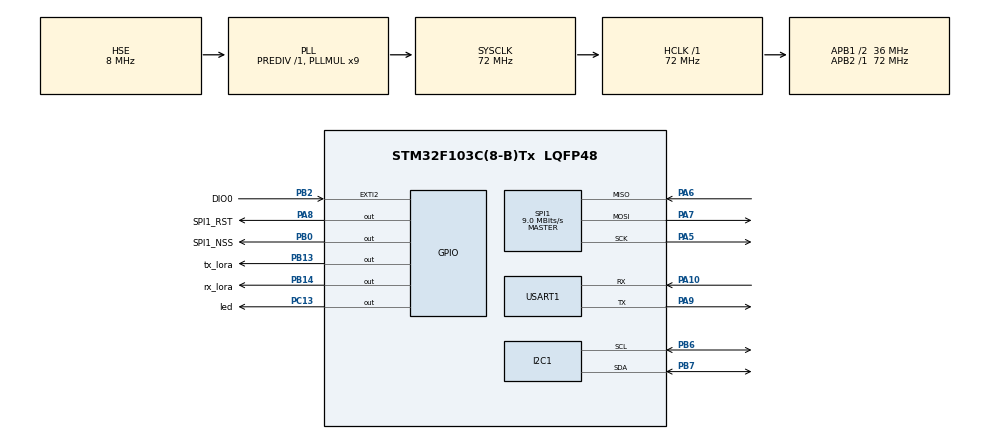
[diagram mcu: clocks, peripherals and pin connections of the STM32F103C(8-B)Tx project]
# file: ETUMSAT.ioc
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Dma.Request0=USART1_RX
Dma.USART1_RX.0.Direction=DMA_PERIPH_TO_MEMORY
Dma.USART1_RX.0.Instance=DMA1_Channel5
Dma.USART1_RX.0.MemDataAlignment=DMA_MDATAALIGN_BYTE
Dma.USART1_RX.0.MemInc=DMA_MINC_ENABLE
Dma.USART1_RX.0.Mode=DMA_CIRCULAR
Dma.USART1_RX.0.PeriphDataAlignment=DMA_PDATAALIGN_BYTE
Dma.USART1_RX.0.PeriphInc=DMA_PINC_DISABLE
Dma.USART1_RX.0.Priority=DMA_PRIORITY_HIGH
I2C1.I2C_Mode=I2C_Fast
Mcu.Family=STM32F1
Mcu.Name=STM32F103C(8-B)Tx
Mcu.Package=LQFP48
NVIC.DMA1_Channel5_IRQn=true\:0\:0\:false\:false\:true\:false\:true
NVIC.EXTI2_IRQn=true\:0\:0\:false\:false\:true\:true\:true
NVIC.PriorityGroup=NVIC_PRIORITYGROUP_4
NVIC.USART1_IRQn=true\:0\:0\:false\:false\:true\:true\:true
PA10.Mode=Asynchronous
PA10.Signal=USART1_RX
PA13.Mode=Serial_Wire
PA13.Signal=SYS_JTMS-SWDIO
PA14.Mode=Serial_Wire
PA14.Signal=SYS_JTCK-SWCLK
PA5.Mode=Full_Duplex_Master
PA5.Signal=SPI1_SCK
PA6.Mode=Full_Duplex_Master
PA6.Signal=SPI1_MISO
PA7.Mode=Full_Duplex_Master
PA7.Signal=SPI1_MOSI
PA8.GPIO_Label=SPI1_RST
PA8.Signal=GPIO_Output
PA9.Mode=Asynchronous
PA9.Signal=USART1_TX
PB0.GPIO_Label=SPI1_NSS
PB0.Signal=GPIO_Output
PB13.GPIO_Label=tx_lora
PB13.Signal=GPIO_Output
PB14.GPIO_Label=rx_lora
PB14.Signal=GPIO_Output
PB2.GPIO_Label=DIO0
PB2.Signal=GPXTI2
PB6.Mode=I2C
PB6.Signal=I2C1_SCL
PB7.Mode=I2C
PB7.Signal=I2C1_SDA
PC13-TAMPER-RTC.GPIO_Label=led
PC13-TAMPER-RTC.Signal=GPIO_Output
PD0-OSC_IN.Mode=HSE-External-Oscillator
PD0-OSC_IN.Signal=RCC_OSC_IN
PD1-OSC_OUT.Mode=HSE-External-Oscillator
PD1-OSC_OUT.Signal=RCC_OSC_OUT
ProjectManager.HeapSize=0x200
ProjectManager.StackSize=0x400
ProjectManager.TargetToolchain=MDK-ARM V5.27
RCC.AHBFreq_Value=72000000
RCC.APB1CLKDivider=RCC_HCLK_DIV2
RCC.APB1Freq_Value=36000000
RCC.APB1TimFreq_Value=72000000
RCC.APB2Freq_Value=72000000
RCC.APB2TimFreq_Value=72000000
RCC.HCLKFreq_Value=72000000
RCC.PLLMUL=RCC_PLL_MUL9
RCC.PLLSourceVirtual=RCC_PLLSOURCE_HSE
RCC.SYSCLKFreq_VALUE=72000000
RCC.SYSCLKSource=RCC_SYSCLKSOURCE_PLLCLK
RCC.USBFreq_Value=72000000
SPI1.BaudRatePrescaler=SPI_BAUDRATEPRESCALER_8
SPI1.CalculateBaudRate=9.0 MBits/s
SPI1.Direction=SPI_DIRECTION_2LINES
SPI1.Mode=SPI_MODE_MASTER
SPI1.VirtualType=VM_MASTER
USART1.VirtualMode=VM_ASYNC
board=custom

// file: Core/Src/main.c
/* USER CODE BEGIN Header */
/**
  ******************************************************************************
  * @file           : main.c
  * @brief          : Main program body
  ******************************************************************************
  * @attention
  *
  * <h2><center>&copy; Copyright (c) 2020 STMicroelectronics.
  * All rights reserved.</center></h2>
  *
  * This software component is licensed by ST under BSD 3-Clause license,
  * the "License"; You may not use this file except in compliance with the
  * License. You may obtain a copy of the License at:
  *                        opensource.org/licenses/BSD-3-Clause
  *
  ******************************************************************************
  */
/* USER CODE END Header */
#include "main.h"
#include "dma.h"
#include "i2c.h"
#include "spi.h"
#include "usart.h"
#include "gpio.h"

/* USER CODE BEGIN Includes */
#include "stdio.h"
#include "Lora.h"
#include "DMA_iddle.h"
#include "string.h"
#include "ssd1306.h"
#include "fonts.h"
/* USER CODE END Includes */

/* USER CODE BEGIN PTD */
#define DMA_RX_BUFFER_SIZE          250
uint8_t DMA_RX_Buffer[DMA_RX_BUFFER_SIZE];

#define UART_BUFFER_SIZE            256
uint8_t UART_Buffer[UART_BUFFER_SIZE];
/* USER CODE END PTD */

/* USER CODE BEGIN PM */
#ifdef __GNUC__
  /* With GCC, small printf (option LD Linker->Libraries->Small printf
     set to 'Yes') calls __io_putchar() */
  #define PUTCHAR_PROTOTYPE int __io_putchar(int ch)
#else
  #define PUTCHAR_PROTOTYPE int fputc(int ch, FILE *f)
#endif /* __GNUC__ */
/* USER CODE END PM */

/* USER CODE BEGIN PV */
uint8_t buffer_tx[10];
uint16_t check_value =0;
uint8_t cont=0;

uint8_t TC_flag=0;
uint8_t TC_Ok=0;
uint8_t TC_buffer[10];

uint8_t SF;
uint8_t BW;
uint8_t RX_flag = 1;
char OLED_buffer[10];

/* USER CODE END PV */

void SystemClock_Config(void);

/* USER CODE BEGIN 0 */
SX1278_hw_t lora_hw;
SX1278_t lora;
/* USER CODE END 0 */

int main(void)
{

  /* MCU Configuration--------------------------------------------------------*/

  /* Reset of all peripherals, Initializes the Flash interface and the Systick. */
  HAL_Init();

  /* Configure the system clock */
  SystemClock_Config();

  /* Initialize all configured peripherals */
  MX_GPIO_Init();
  MX_DMA_Init();
  MX_USART1_UART_Init();
  MX_SPI1_Init();
  MX_I2C1_Init();
  /* USER CODE BEGIN 2 */
	lora_hw.nss.port = SPI1_NSS_GPIO_Port;
	lora_hw.nss.pin = SPI1_NSS_Pin;
	lora_hw.reset.port = SPI1_RST_GPIO_Port;
	lora_hw.reset.pin = SPI1_RST_Pin;
	lora_hw.spi = &hspi1;
	lora.hw = &lora_hw;

	//HAL_Delay(100);
	//RESET
	SX1278_reset(&lora);
	//HAL_Delay(200);
	HAL_GPIO_TogglePin(rx_lora_GPIO_Port,rx_lora_Pin);
	HAL_GPIO_TogglePin(tx_lora_GPIO_Port,tx_lora_Pin);
	//printf("hola\n");
	// ch = 48 (439MHz)
	// while( SX1278_BeginLora(&lora, BW_125, 48, SF_8, CR_7, 0x0008, 100, 0, 0x02, 5) == 0)
	SF = SF_11;
	BW = BW_125;
	while( SX1278_BeginLora(&lora, BW_125, 48, SF_11, CR_6, 0x0008, 100, 0, 0x02, 20) == 0)
	{
		//printf("Error Lora\n");
		HAL_GPIO_TogglePin(led_GPIO_Port, led_Pin);
		HAL_Delay(500);
	}
	//printf("Lora Ok\n");
	//HAL_Delay(1000);

	uint8_t status = SSD1306_Init (); // initialize the diaply
//	printf("status = 0x%.2X\n",status);
//	printf("OLED Ok\n");
	//HAL_Delay(100);
	SSD1306_Clear();
	//HAL_Delay(5000);

	__HAL_UART_ENABLE_IT(&huart1, UART_IT_IDLE);   // enable idle line interrupt
	__HAL_DMA_ENABLE_IT (&hdma_usart1_rx, DMA_IT_TC);  // enable DMA Tx cplt interrupt

	__HAL_DMA_DISABLE_IT(&hdma_usart1_rx, DMA_IT_HT); 	// discable half complete interrupt
//	hdma_usart1_rx.Instance->CCR &= ~DMA_SxCR_HTIE;
	HAL_UART_Receive_DMA (&huart1, DMA_RX_Buffer, 250);

	//HAL_Delay(1000);
	SSD1306_GotoXY (20,20); // goto 10, 10
	SSD1306_Puts ("ETUMSAT", &Font_11x18, SSD1306_COLOR_WHITE); // print Hello
//	SSD1306_GotoXY (10, 30);
//	SSD1306_Puts ("OK !!", &Font_16x26, SSD1306_COLOR_WHITE);
	SSD1306_UpdateScreen(); // update screen
	HAL_GPIO_WritePin(led_GPIO_Port, led_Pin, GPIO_PIN_SET);
	HAL_GPIO_WritePin(rx_lora_GPIO_Port, rx_lora_Pin, GPIO_PIN_SET);
	HAL_GPIO_WritePin(tx_lora_GPIO_Port, tx_lora_Pin, GPIO_PIN_RESET);
	HAL_Delay(100);
	HAL_GPIO_WritePin(rx_lora_GPIO_Port, rx_lora_Pin, GPIO_PIN_RESET);
	HAL_GPIO_WritePin(tx_lora_GPIO_Port, tx_lora_Pin, GPIO_PIN_SET);
	HAL_Delay(100);
	HAL_GPIO_WritePin(rx_lora_GPIO_Port, rx_lora_Pin, GPIO_PIN_SET);
	HAL_GPIO_WritePin(tx_lora_GPIO_Port, tx_lora_Pin, GPIO_PIN_RESET);
	HAL_Delay(100);
	HAL_GPIO_WritePin(tx_lora_GPIO_Port, tx_lora_Pin, GPIO_PIN_SET);
	HAL_Delay(1000);
	SX1278_receive(&lora);
	uint8_t TX_Buffer[256] = "1_1234567 2_1234567 3_1234567 4_1234567 5_1234567 6_1234567 7_1234567 8_1234567 9_1234567 10_123456 11_123456 12_123456 13_123456 14_123456 15_123456 16_123456 17_123456 18_123456 19_123456 20_123456 21_123456 22_123456 23_123456 24_123456 25_123456 12345";
	DMA_RX_Buffer[1]=0x30;
  /* USER CODE END 2 */

  /* Infinite loop */
  while (1)
  {

    /* USER CODE BEGIN 3 */
		if(TC_flag == 1)
			{
				if(DMA_RX_Buffer[0] == '0')
				{
					//printf("TC = %s\n",DMA_RX_Buffer);
					TC_Ok = 1;
					HAL_GPIO_WritePin(led_GPIO_Port, led_Pin, GPIO_PIN_RESET);
					HAL_Delay(5000);
				}
				if(TC_Ok == 1)
				{
					if(DMA_RX_Buffer[1] == 'T')
					{
						TC_buffer[0] = 0x0D;
						TC_buffer[1] = 'T';
						TC_buffer[2] = DMA_RX_Buffer[2];
						sx1278_transmit(&lora, TX_Buffer, 50);
						//HAL_GPIO_WritePin(led_GPIO_Port, led_Pin, GPIO_PIN_SET);
						DMA_RX_Buffer[0]=0;
//						HAL_GPIO_WritePin(tx_lora_GPIO_Port, tx_lora_Pin, GPIO_PIN_RESET);
//						HAL_Delay(10);
//						HAL_GPIO_WritePin(tx_lora_GPIO_Port, tx_lora_Pin, GPIO_PIN_SET);
					}

					if(DMA_RX_Buffer[1] == 'C')
					{
						TC_buffer[0] = 0x0D;
						TC_buffer[1] = 'C';
						//TC_buffer[2] = DMA_RX_Buffer[2];
						sx1278_transmit(&lora, TC_buffer, 2);
						//HAL_GPIO_WritePin(led_GPIO_Port, led_Pin, GPIO_PIN_SET);
						DMA_RX_Buffer[0]=0;
//						HAL_GPIO_WritePin(tx_lora_GPIO_Port, tx_lora_Pin, GPIO_PIN_RESET);
//						HAL_Delay(10);
//						HAL_GPIO_WritePin(tx_lora_GPIO_Port, tx_lora_Pin, GPIO_PIN_SET);
					}
					else if(DMA_RX_Buffer[1] == 'L')
					{
						TC_buffer[0] = 0x0D;
						TC_buffer[1] = 'L';
						TC_buffer[2] = DMA_RX_Buffer[2]&0x0F;		// BW
						TC_buffer[3] = (DMA_RX_Buffer[3]&0x0F) + 6;		// SF
						SF = TC_buffer[3];
						BW = TC_buffer[2];
						//SX1278_receive(&lora);
						sx1278_transmit(&lora, TC_buffer, 4);
						DMA_RX_Buffer[0]=0;
						SX1278_BeginLora(&lora, TC_buffer[2], 48, TC_buffer[3], CR_6, 0x0008, 100, 0, 0x02, 5);
					}
					HAL_GPIO_WritePin(led_GPIO_Port, led_Pin, GPIO_PIN_SET);
					TC_Ok = 0;
				}
				TC_flag = 0;
				RX_flag = 1;

				//memset(&DMA_RX_Buffer, 0, sizeof(DMA_RX_Buffer));

			}
//			DMA_RX_Buffer[0]=0x31;
//
//			sx1278_transmit(&lora, TX_Buffer, 190);
//			if(DMA_RX_Buffer[1] == 0x39)
//				DMA_RX_Buffer[1] = 0x30;
//			else
//				DMA_RX_Buffer[1]=DMA_RX_Buffer[1]+1;

			//HAL_Delay(3000);
			if(RX_flag == 1)
			{
				sprintf (OLED_buffer, "%d ",SF);
				SSD1306_GotoXY (1,1);
				SSD1306_Puts ("SF:", &Font_7x10, SSD1306_COLOR_BLACK);
				SSD1306_Puts (OLED_buffer, &Font_7x10, SSD1306_COLOR_WHITE);

				if(BW == 0) sprintf (OLED_buffer, "7.80 KHz ");
				else if(BW == 1) sprintf (OLED_buffer, "10.40 kHz");
				else if(BW == 2) sprintf (OLED_buffer, "15.60 kHz");
				else if(BW == 3) sprintf (OLED_buffer, "20.80 kHz");
				else if(BW == 4) sprintf (OLED_buffer, "31.25 kHz");
				else if(BW == 5) sprintf (OLED_buffer, "41.70 kHz");
				else if(BW == 6) sprintf (OLED_buffer, "62.50 kHz");
				else if(BW == 7) sprintf (OLED_buffer, "125.0 kHz");
				else if(BW == 8) sprintf (OLED_buffer, "250.0 kHz");
				else if(BW == 9) sprintf (OLED_buffer, "500.0 kHz");

				SSD1306_GotoXY (42,1);
				SSD1306_Puts ("BW:", &Font_7x10, SSD1306_COLOR_BLACK);
				SSD1306_Puts (OLED_buffer, &Font_7x10, SSD1306_COLOR_WHITE);
				SSD1306_UpdateScreen(); // update screen
				RX_flag = 0;

			}

  }
  /* USER CODE END 3 */
}

void SystemClock_Config(void)
{
  RCC_OscInitTypeDef RCC_OscInitStruct = {0};
  RCC_ClkInitTypeDef RCC_ClkInitStruct = {0};

  /** Initializes the RCC Oscillators according to the specified parameters
  * in the RCC_OscInitTypeDef structure.
  */
  RCC_OscInitStruct.OscillatorType = RCC_OSCILLATORTYPE_HSE;
  RCC_OscInitStruct.HSEState = RCC_HSE_ON;
  RCC_OscInitStruct.HSEPredivValue = RCC_HSE_PREDIV_DIV1;
  RCC_OscInitStruct.HSIState = RCC_HSI_ON;
  RCC_OscInitStruct.PLL.PLLState = RCC_PLL_ON;
  RCC_OscInitStruct.PLL.PLLSource = RCC_PLLSOURCE_HSE;
  RCC_OscInitStruct.PLL.PLLMUL = RCC_PLL_MUL9;
  if (HAL_RCC_OscConfig(&RCC_OscInitStruct) != HAL_OK)
  {
    Error_Handler();
  }
  /** Initializes the CPU, AHB and APB buses clocks
  */
  RCC_ClkInitStruct.ClockType = RCC_CLOCKTYPE_HCLK|RCC_CLOCKTYPE_SYSCLK
                              |RCC_CLOCKTYPE_PCLK1|RCC_CLOCKTYPE_PCLK2;
  RCC_ClkInitStruct.SYSCLKSource = RCC_SYSCLKSOURCE_PLLCLK;
  RCC_ClkInitStruct.AHBCLKDivider = RCC_SYSCLK_DIV1;
  RCC_ClkInitStruct.APB1CLKDivider = RCC_HCLK_DIV2;
  RCC_ClkInitStruct.APB2CLKDivider = RCC_HCLK_DIV1;

  if (HAL_RCC_ClockConfig(&RCC_ClkInitStruct, FLASH_LATENCY_2) != HAL_OK)
  {
    Error_Handler();
  }
}

/* USER CODE BEGIN 4 */
PUTCHAR_PROTOTYPE
{
  /* Place your implementation of fputc here */
  /* e.g. write a character to the EVAL_COM1 and Loop until the end of transmission */
  HAL_UART_Transmit(&huart1, (uint8_t *)&ch, 1, 0xFFFF);

  return ch;
}
/* USER CODE END 4 */

void Error_Handler(void)
{
}

/************************ (C) COPYRIGHT STMicroelectronics *****END OF FILE****/
